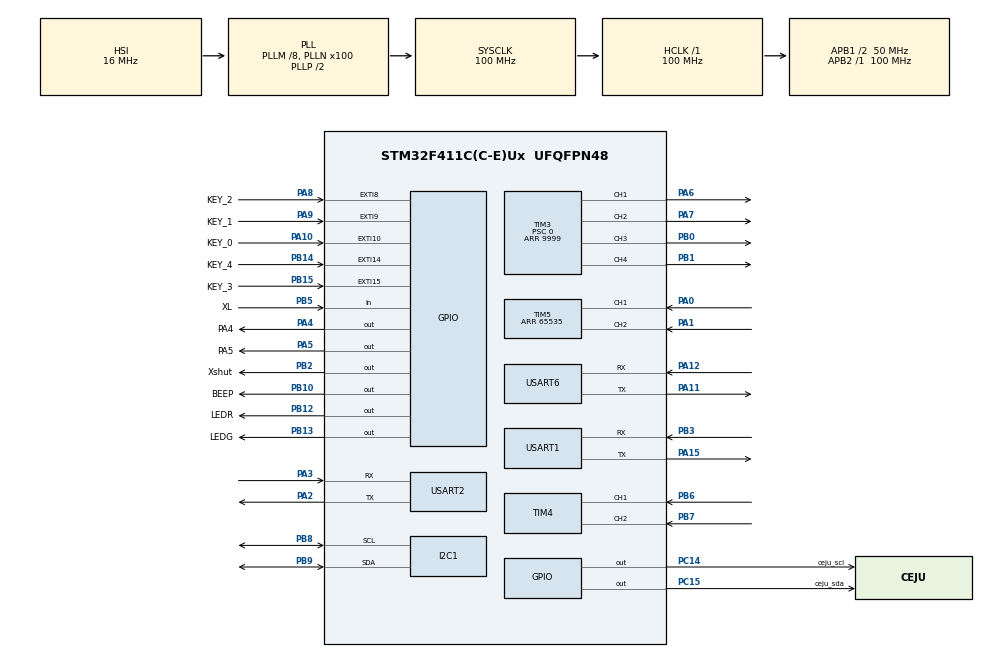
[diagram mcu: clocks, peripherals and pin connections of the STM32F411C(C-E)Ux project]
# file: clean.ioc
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Dma.Request0=USART2_RX
Dma.USART2_RX.0.Direction=DMA_PERIPH_TO_MEMORY
Dma.USART2_RX.0.FIFOMode=DMA_FIFOMODE_DISABLE
Dma.USART2_RX.0.Instance=DMA1_Stream5
Dma.USART2_RX.0.MemDataAlignment=DMA_MDATAALIGN_BYTE
Dma.USART2_RX.0.MemInc=DMA_MINC_ENABLE
Dma.USART2_RX.0.Mode=DMA_NORMAL
Dma.USART2_RX.0.PeriphDataAlignment=DMA_PDATAALIGN_BYTE
Dma.USART2_RX.0.PeriphInc=DMA_PINC_DISABLE
Dma.USART2_RX.0.Priority=DMA_PRIORITY_LOW
Mcu.Family=STM32F4
Mcu.Name=STM32F411C(C-E)Ux
Mcu.Package=UFQFPN48
NVIC.DMA1_Stream5_IRQn=true\:0\:0\:false\:false\:true\:false\:true\:true
NVIC.EXTI15_10_IRQn=true\:1\:0\:true\:false\:true\:true\:true\:true
NVIC.EXTI9_5_IRQn=true\:1\:0\:true\:false\:true\:true\:true\:true
NVIC.PriorityGroup=NVIC_PRIORITYGROUP_4
NVIC.TIM1_BRK_TIM9_IRQn=true\:0\:0\:false\:false\:true\:true\:true\:true
NVIC.TIM2_IRQn=true\:0\:0\:false\:false\:true\:true\:true\:true
NVIC.USART1_IRQn=true\:0\:0\:false\:false\:true\:true\:true\:true
NVIC.USART2_IRQn=true\:0\:0\:false\:false\:true\:true\:true\:true
NVIC.USART6_IRQn=true\:0\:0\:false\:false\:true\:true\:true\:true
PA0-WKUP.Signal=S_TIM5_CH1
PA1.Signal=S_TIM5_CH2
PA10.GPIO_Label=KEY_0
PA10.GPIO_PuPd=GPIO_PULLDOWN
PA10.Signal=GPXTI10
PA11.Mode=Asynchronous
PA11.Signal=USART6_TX
PA12.Mode=Asynchronous
PA12.Signal=USART6_RX
PA13.Mode=Serial_Wire
PA13.Signal=SYS_JTMS-SWDIO
PA14.Mode=Serial_Wire
PA14.Signal=SYS_JTCK-SWCLK
PA15.Mode=Asynchronous
PA15.Signal=USART1_TX
PA2.Mode=Asynchronous
PA2.Signal=USART2_TX
PA3.Mode=Asynchronous
PA3.Signal=USART2_RX
PA4.GPIO_Label=PA4
PA4.Signal=GPIO_Output
PA5.GPIO_Label=PA5
PA5.Signal=GPIO_Output
PA6.Signal=S_TIM3_CH1
PA7.Signal=S_TIM3_CH2
PA8.GPIO_Label=KEY_2
PA8.GPIO_PuPd=GPIO_PULLDOWN
PA8.Signal=GPXTI8
PA9.GPIO_Label=KEY_1
PA9.GPIO_PuPd=GPIO_PULLDOWN
PA9.Signal=GPXTI9
PB0.Signal=S_TIM3_CH3
PB1.Signal=S_TIM3_CH4
PB10.GPIO_Label=BEEP
PB10.Signal=GPIO_Output
PB12.GPIO_Label=LEDR
PB12.GPIO_PuPd=GPIO_PULLUP
PB12.Signal=GPIO_Output
PB13.GPIO_Label=LEDG
PB13.GPIO_PuPd=GPIO_PULLUP
PB13.Signal=GPIO_Output
PB14.GPIO_Label=KEY_4
PB14.GPIO_PuPd=GPIO_PULLDOWN
PB14.Signal=GPXTI14
PB15.GPIO_Label=KEY_3
PB15.GPIO_PuPd=GPIO_PULLDOWN
PB15.Signal=GPXTI15
PB2.GPIO_Label=Xshut
PB2.GPIO_PuPd=GPIO_PULLUP
PB2.Signal=GPIO_Output
PB3.Mode=Asynchronous
PB3.Signal=USART1_RX
PB5.GPIO_Label=XL
PB5.GPIO_PuPd=GPIO_PULLDOWN
PB5.Signal=GPIO_Input
PB6.Signal=S_TIM4_CH1
PB7.Signal=S_TIM4_CH2
PB8.Mode=I2C
PB8.Signal=I2C1_SCL
PB9.Mode=I2C
PB9.Signal=I2C1_SDA
PC14-OSC32_IN.GPIO_Label=ceju_scl
PC14-OSC32_IN.Signal=GPIO_Output
PC15-OSC32_OUT.GPIO_Label=ceju_sda
PC15-OSC32_OUT.Signal=GPIO_Output
PH0\ -\ OSC_IN.Mode=HSE-External-Oscillator
PH0\ -\ OSC_IN.Signal=RCC_OSC_IN
PH1\ -\ OSC_OUT.Mode=HSE-External-Oscillator
PH1\ -\ OSC_OUT.Signal=RCC_OSC_OUT
ProjectManager.HeapSize=0x200
ProjectManager.StackSize=0x400
ProjectManager.TargetToolchain=MDK-ARM V5.32
RCC.48MHZClocksFreq_Value=50000000
RCC.AHBFreq_Value=100000000
RCC.APB1CLKDivider=RCC_HCLK_DIV2
RCC.APB1Freq_Value=50000000
RCC.APB1TimFreq_Value=100000000
RCC.APB2Freq_Value=100000000
RCC.APB2TimFreq_Value=100000000
RCC.CortexFreq_Value=100000000
RCC.HCLKFreq_Value=100000000
RCC.HSE_VALUE=25000000
RCC.HSI_VALUE=16000000
RCC.LSE_VALUE=32768
RCC.PLLM=8
RCC.PLLN=100
RCC.SYSCLKFreq_VALUE=100000000
RCC.SYSCLKSource=RCC_SYSCLKSOURCE_PLLCLK
RCC.VCOOutputFreq_Value=200000000
SH.S_TIM3_CH1.0=TIM3_CH1,PWM Generation1 CH1
SH.S_TIM3_CH2.0=TIM3_CH2,PWM Generation2 CH2
SH.S_TIM3_CH3.0=TIM3_CH3,PWM Generation3 CH3
SH.S_TIM3_CH4.0=TIM3_CH4,PWM Generation4 CH4
SH.S_TIM4_CH1.0=TIM4_CH1,Encoder_Interface
SH.S_TIM4_CH2.0=TIM4_CH2,Encoder_Interface
SH.S_TIM5_CH1.0=TIM5_CH1,Encoder_Interface
SH.S_TIM5_CH2.0=TIM5_CH2,Encoder_Interface
TIM2.Period=9999
TIM2.Prescaler=9
TIM3.AutoReloadPreload=TIM_AUTORELOAD_PRELOAD_ENABLE
TIM3.Channel-PWM\ Generation1\ CH1=TIM_CHANNEL_1
TIM3.Channel-PWM\ Generation2\ CH2=TIM_CHANNEL_2
TIM3.Channel-PWM\ Generation3\ CH3=TIM_CHANNEL_3
TIM3.Channel-PWM\ Generation4\ CH4=TIM_CHANNEL_4
TIM3.Period=9999
TIM3.Prescaler=0
TIM3.Pulse-PWM\ Generation1\ CH1=0
TIM3.Pulse-PWM\ Generation2\ CH2=0
TIM3.Pulse-PWM\ Generation3\ CH3=0
TIM3.Pulse-PWM\ Generation4\ CH4=0
TIM4.AutoReloadPreload=TIM_AUTORELOAD_PRELOAD_ENABLE
TIM4.EncoderMode=TIM_ENCODERMODE_TI12
TIM4.IC1Filter=10
TIM4.IC2Filter=10
TIM5.AutoReloadPreload=TIM_AUTORELOAD_PRELOAD_ENABLE
TIM5.EncoderMode=TIM_ENCODERMODE_TI12
TIM5.IC1Filter=10
TIM5.IC2Filter=10
TIM5.Period=65535
TIM9.Period=9999
TIM9.Prescaler=9
USART1.VirtualMode=VM_ASYNC
USART2.VirtualMode=VM_ASYNC
USART6.VirtualMode=VM_ASYNC
VP_TIM2_VS_ClockSourceINT.Mode=Internal
VP_TIM9_VS_ClockSourceINT.Mode=Internal
board=custom

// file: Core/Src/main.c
/* USER CODE BEGIN Header */
/**
  ******************************************************************************
  * @file           : main.c
  * @brief          : Main program body
  ******************************************************************************
  * @attention
  *
  * Copyright (c) 2025 STMicroelectronics.
  * All rights reserved.
  *
  * This software is licensed under terms that can be found in the LICENSE file
  * in the root directory of this software component.
  * If no LICENSE file comes with this software, it is provided AS-IS.
  *
  ******************************************************************************
  */
/* USER CODE END Header */
#include "main.h"
#include "dma.h"
#include "i2c.h"
#include "tim.h"
#include "usart.h"
#include "gpio.h"

/* USER CODE BEGIN Includes */
#include "debug.h"
#include "Imu.h"
#include "key.h"
#include "pid.h"
#include "OLED.h"
#include "Buzzer.h"
#include "usart_2.h"
#include "math.h"
#include "app.h"
#include "pwm.h"
#include "GWKJ.h"
#include "encoder.h"
/* USER CODE END Includes */

/* USER CODE BEGIN PTD */
float Kp = 0.5;  // 比例增益
float Kd = 0.3;  // 微分增益
char RxBuffer[200],Rxcouter;
uint8_t Res;
int Usart1_Rx_Flag=0;
int Flag_ly=0;
int stop=0;
char target;

static uint8_t last_state_BZ2 = 1;  // 假设初始状态为高电平
static uint8_t last_state_BZ3 = 1;
static uint8_t last_state_BZ1 = 1;

/* USER CODE END PTD */

void SystemClock_Config(void);

/* USER CODE BEGIN 0 */
void HAL_UART_RxCpltCallback(UART_HandleTypeDef *huart)

{
    if(huart->Instance == USART1)
    {
        UART1_RxCpltCallback(huart);
    }
//		else if(huart->Instance == USART6)
//		{
//			RxBuffer[Rxcouter++] = Res;
//			HAL_UART_Receive_IT(&huart6, (uint8_t *)&Res, 1);
//			Usart1_Rx_Flag=1;
//			if(Res=='a')
//			{
//				Flag_ly=1;
//				stop=0;
//			}
//			else if(Res=='b')
//			{
//				Flag_ly=2;
//				stop=0;
//			}
//			else if(Res=='c')
//			{
//				Flag_ly=3;
//				stop=0;
//			}
//			else if(Res=='d')
//			{
//				Flag_ly=4;
//				stop=0;
//			}
//			else if(Res=='e')
//			{
//				Flag_ly=5;
//				stop=0;
//			}
//		}

}
/* USER CODE END 0 */

int main(void)
{

  /* MCU Configuration--------------------------------------------------------*/

  /* Reset of all peripherals, Initializes the Flash interface and the Systick. */
  HAL_Init();

  /* Configure the system clock */
  SystemClock_Config();

  /* Initialize all configured peripherals */
  MX_GPIO_Init();
  MX_DMA_Init();
  MX_USART1_UART_Init();
  MX_USART2_UART_Init();
  MX_USART6_UART_Init();
  MX_TIM3_Init();
  MX_I2C1_Init();
  MX_TIM4_Init();
  MX_TIM5_Init();
  MX_TIM2_Init();
  MX_TIM9_Init();
  /* USER CODE BEGIN 2 */
	HAL_TIM_PWM_Start(&htim3,TIM_CHANNEL_1);
	HAL_TIM_PWM_Start(&htim3,TIM_CHANNEL_2);
	HAL_TIM_PWM_Start(&htim3,TIM_CHANNEL_3);
	HAL_TIM_PWM_Start(&htim3,TIM_CHANNEL_4);
	HAL_TIM_Encoder_Start(&htim4,TIM_CHANNEL_ALL);
	HAL_TIM_Encoder_Start(&htim5,TIM_CHANNEL_ALL);
	USART2_Init();
//	HAL_TIM_Base_Start_IT(&htim2);

//	Debug_Init();	//白色是高电平，为1，黑色是低电平，为2
	extern int Flag;

	extern int IMU_flag;
	extern float Yaw;
	extern float Gyro;
	extern int turn;
	int turn1;
	int turn2;
	extern int startflag;
	float Yaw_Init;
	int stopflag=0;
	int findflag=1;
	uint8_t Uart_RxBuffer;
	float L_raw;
	int crossflag=0;
	extern uint16_t find[10];
	extern uint8_t RxBuffer_2[RXBUFFERSIZE_2];
	extern uint8_t Uart_RxBuffer_2;
	extern float encoder_left;
	extern float encoder_right;
	int sendflag=0;
	extern float Velocity_Left,Velocity_Right;
	extern int motor_left,motor_right;
//	HAL_TIM_Base_Start_IT(&htim3);
	GW_digital_Init();
	OLED_Init();//OLED初始化
//	GW_analog_Init();
	IMU_Init();
	Yaw_Init=Yaw;
	USART2_Init();
	Set_PWM(0,0);
	uint8_t BIT[8]={0,0,0,0,0,0,0,0};
	HAL_TIM_Base_Start_IT(&htim2);

//	HAL_UART_Receive_IT(&huart6,&Res,1);

//	uint8_t Problem_Flag = 0;
//	uint8_t Calibration_Flag;
//	DEBUG_info("Main Init",":over");
  /* USER CODE END 2 */

  /* Infinite loop */
  /* USER CODE BEGIN WHILE */
  while (1)
  {

//		UART6_SendChar('1');
		OLED_Update();
		ReadSensors(BIT);
		int offset = CalculateOffset(BIT);
		float pid_output = ComputePID(offset);
		AdjustMotorSpeed(pid_output);
		int output_left,output_right;
		PD_update(motor_right*3,motor_left*3,Velocity_Left*10,Velocity_Right*10,1,&output_right,&output_left);
//		output_left=Velocity_PI_left(Velocity_Left,300.0,1);
//		output_right=Velocity_PI_right(Velocity_Right,300.0,1);
//
		Set_PWM(output_left,output_right);
		OLED_Printf(0, 16, OLED_8X16, "left:%d",output_left);
		OLED_Printf(0, 32, OLED_8X16, "right:%d",output_right);

		HAL_GPIO_WritePin(GPIOB, GPIO_PIN_12, GPIO_PIN_SET);
		HAL_GPIO_WritePin(GPIOB, GPIO_PIN_13, GPIO_PIN_SET);
//		if(HAL_GPIO_ReadPin(GPIOB,XL_Pin)==1)
//		{
//			startflag=1;
//			OLED_Printf(0, 32, OLED_8X16, "Medicine ready");
//		}
//		else
//		{
//			stopflag=1;
////			OLED_Printf(0, 32, OLED_8X16, "NO Medicine");
//		}

		while(Flag==1)//基础1
		{
			OLED_Update();
			for(int i=0;i<2;i++)
			{
				UART1_SendChar('b');
			}
			problem1();

		}
		while(Flag==2&&startflag==1)//基础2
		{
			OLED_Update();
			if(sendflag==0)
			{
				for(int i=0;i<2;i++)
				{
					UART1_SendChar('b');
				}
				sendflag=1;
			}

			problem2();
		}
		while(Flag==3&&startflag==1)//基础3
		{
			OLED_Update();
			if(sendflag==0)
			{
				for(int i=0;i<2;i++)
				{
					UART1_SendChar('b');
				}
				sendflag=1;
			}
			problem3();
		}
		if(Flag==4&&startflag==1)//基础3
		{
			OLED_Update();
			if(sendflag==0)
			{
				for(int i=0;i<2;i++)
				{
					UART1_SendChar('b');
				}
				sendflag=1;
			}
			problem4();
		}

	}
    /* USER CODE END WHILE */

}

void SystemClock_Config(void)
{
  RCC_OscInitTypeDef RCC_OscInitStruct = {0};
  RCC_ClkInitTypeDef RCC_ClkInitStruct = {0};

  /** Configure the main internal regulator output voltage
  */
  __HAL_RCC_PWR_CLK_ENABLE();
  __HAL_PWR_VOLTAGESCALING_CONFIG(PWR_REGULATOR_VOLTAGE_SCALE1);

  /** Initializes the RCC Oscillators according to the specified parameters
  * in the RCC_OscInitTypeDef structure.
  */
  RCC_OscInitStruct.OscillatorType = RCC_OSCILLATORTYPE_HSI;
  RCC_OscInitStruct.HSIState = RCC_HSI_ON;
  RCC_OscInitStruct.HSICalibrationValue = RCC_HSICALIBRATION_DEFAULT;
  RCC_OscInitStruct.PLL.PLLState = RCC_PLL_ON;
  RCC_OscInitStruct.PLL.PLLSource = RCC_PLLSOURCE_HSI;
  RCC_OscInitStruct.PLL.PLLM = 8;
  RCC_OscInitStruct.PLL.PLLN = 100;
  RCC_OscInitStruct.PLL.PLLP = RCC_PLLP_DIV2;
  RCC_OscInitStruct.PLL.PLLQ = 4;
  if (HAL_RCC_OscConfig(&RCC_OscInitStruct) != HAL_OK)
  {
    Error_Handler();
  }

  /** Initializes the CPU, AHB and APB buses clocks
  */
  RCC_ClkInitStruct.ClockType = RCC_CLOCKTYPE_HCLK|RCC_CLOCKTYPE_SYSCLK
                              |RCC_CLOCKTYPE_PCLK1|RCC_CLOCKTYPE_PCLK2;
  RCC_ClkInitStruct.SYSCLKSource = RCC_SYSCLKSOURCE_PLLCLK;
  RCC_ClkInitStruct.AHBCLKDivider = RCC_SYSCLK_DIV1;
  RCC_ClkInitStruct.APB1CLKDivider = RCC_HCLK_DIV2;
  RCC_ClkInitStruct.APB2CLKDivider = RCC_HCLK_DIV1;

  if (HAL_RCC_ClockConfig(&RCC_ClkInitStruct, FLASH_LATENCY_3) != HAL_OK)
  {
    Error_Handler();
  }
}

/* USER CODE BEGIN 4 */
float prev_error_left = 0.0;
float prev_error_right = 0.0;
void PD_update(int target_left, int target_right,
               float actual_left, float actual_right,
               float dt,
               int *output_left, int *output_right) {

    // 计算左右电机的误差
    float error_left = target_left - actual_left;
    float error_right = target_right - actual_right;

    // 计算微分项
    float derivative_left = (error_left - prev_error_left) / dt;
    float derivative_right = (error_right - prev_error_right) / dt;

    // 计算 PD 控制输出
    *output_left = Kp * error_left + Kd * derivative_left;
    *output_right = Kp * error_right + Kd * derivative_right;

    // 保存当前误差，供下次计算微分项使用
    prev_error_left = error_left;
    prev_error_right = error_right;
}
//float Velocity_Left,Velocity_Right;
float Velocity_Kp = 18, Velocity_Ki = 7.5; //Velocity_Kp_right = 18, Velocity_Ki_right = 7.5;
float Velocity_Target_Max = 500;
int Speed_PWM_Max, Turn_PWM_Max;
float Velocity_PI_left(float Velocity,float Target, int flag)
{
		Speed_PWM_Max = 11*Velocity_Target_Max;
    static float velocity,Encoder_Last_bias,Encoder_bias, Encoder_Integral;
		Encoder_bias = Target-Velocity;
		Encoder_Integral = Velocity_Ki*Encoder_bias;
		velocity += Velocity_Kp*(Encoder_bias-Encoder_Last_bias) + Encoder_Integral;     //速度控制
		Encoder_Last_bias = Encoder_bias;
//		if(Encoder_Integral > 4500) Encoder_Integral = 4500;
//		if(Encoder_Integral < -4500) Encoder_Integral = -4500;
		if(velocity > Speed_PWM_Max) velocity = Speed_PWM_Max;
		if(velocity < -4000) velocity = -4000;
		if(flag == 0) Encoder_Integral=0, velocity = 0;//电机关闭后清除积分
	  return velocity;
}
float Velocity_PI_right(float Velocity,float Target, int flag)
{
		Speed_PWM_Max = 11*Velocity_Target_Max;
    static float velocity,Encoder_Last_bias,Encoder_bias, Encoder_Integral;
		Encoder_bias = Target-Velocity;
		Encoder_Integral = Velocity_Ki*Encoder_bias;
		velocity += Velocity_Kp*(Encoder_bias-Encoder_Last_bias) + Encoder_Integral;     //速度控制
		Encoder_Last_bias = Encoder_bias;
//		if(Encoder_Integral > 4500) Encoder_Integral = 4500;
//		if(Encoder_Integral < -4500) Encoder_Integral = -4500;
		if(velocity > Speed_PWM_Max) velocity = Speed_PWM_Max;
		if(velocity < -4000) velocity = -4000;
		if(flag == 0) Encoder_Integral=0, velocity = 0;//电机关闭后清除积分
	  return velocity;
}
/* USER CODE END 4 */

void Error_Handler(void)
{
  __disable_irq();
  while (1)
  {
  }
}
